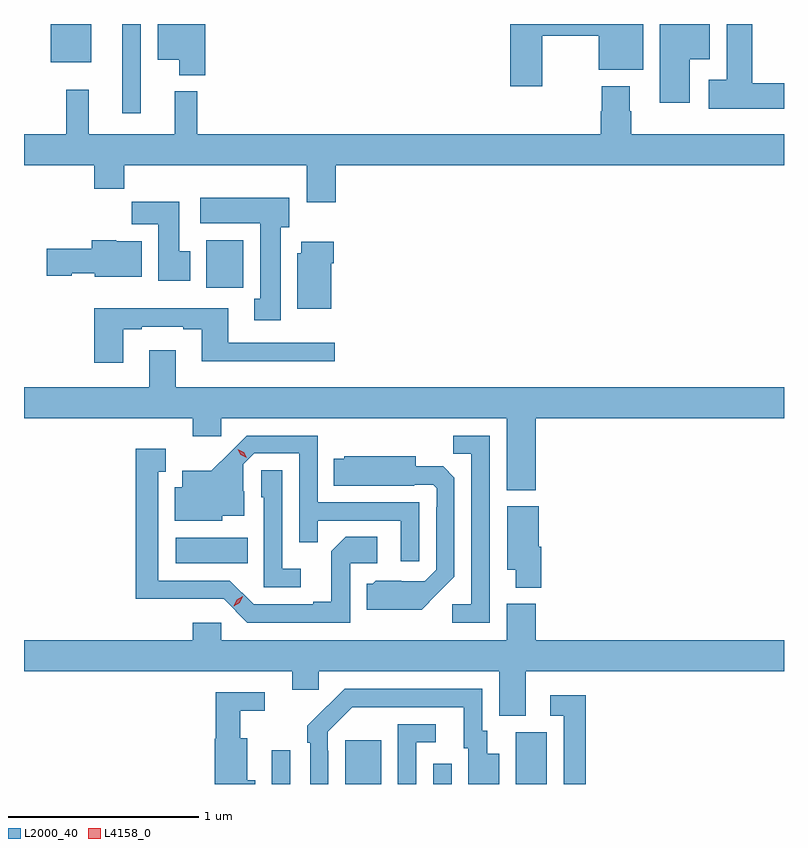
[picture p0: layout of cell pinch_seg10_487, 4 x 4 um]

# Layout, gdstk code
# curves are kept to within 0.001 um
import gdstk
lib = gdstk.Library(unit=1e-6, precision=1e-09)
def R(c, l, rs):  # rectangles x0, y0, x1, y1
    for r in rs: c.add(gdstk.rectangle(r[:2], r[2:], *l))
def P(c, l, *ps):  # polygons
    for p in ps: c.add(gdstk.Polygon(p, *l))
L2000_40 = (2000, 40)
L4158_0 = (4158, 0)

pinch_seg10_487 = lib.new_cell('pinch_seg10_487')
R(pinch_seg10_487, L2000_40, [(215.583,1250.439,215.679,1250.617), (215.969,1250.439,216.157,1250.668), (216.432,1250.439,216.528,1250.545), (216.866,1250.439,217.03,1250.712), (215.076,1251.602,215.456,1251.736), (215.237,1253.052,215.433,1253.302), (214.796,1253.97,214.893,1254.439), (214.418,1254.239,214.633,1254.439)])
P(pinch_seg10_487, L2000_40, [(217.783,1254.254),(217.888,1254.254),(217.888,1254.439),(217.625,1254.439),(217.625,1254.024),(217.783,1254.024)],
  [(215.231,1254.439),(214.982,1254.439),(214.982,1254.251),(215.096,1254.251),(215.096,1254.17),(215.231,1254.17)],
  [(217.006,1254.376),(217.304,1254.376),(217.304,1254.197),(217.537,1254.197),(217.537,1254.439),(216.836,1254.439),(216.836,1254.111),(217.006,1254.111)],
  [(218.278,1254.128),(218.111,1254.128),(218.111,1254.439),(217.976,1254.439),(217.976,1254.145),(217.881,1254.145),(217.881,1253.993),(218.278,1253.993)],
  [(215.918,1253.696),(218.278,1253.696),(218.278,1253.86),(217.473,1253.86),(217.473,1253.981),(217.465,1253.981),(217.465,1254.112),(217.318,1254.112),(217.318,1253.981),(217.313,1253.981),(217.313,1253.86),(215.189,1253.86),(215.189,1254.085),(215.072,1254.085),(215.072,1253.86),(214.619,1253.86),(214.619,1254.094),(214.501,1254.094),(214.501,1253.86),(214.278,1253.86),(214.278,1253.696),(214.649,1253.696),(214.649,1253.572),(214.805,1253.572),(214.805,1253.696),(215.765,1253.696),(215.765,1253.502),(215.918,1253.502)],
  [(215.629,1253.37),(215.674,1253.37),(215.674,1253.524),(215.205,1253.524),(215.205,1253.39),(215.522,1253.39),(215.522,1252.993),(215.489,1252.993),(215.489,1252.881),(215.629,1252.881)],
  [(215.152,1253.244),(215.095,1253.244),(215.095,1253.503),(214.846,1253.503),(214.846,1253.384),(214.985,1253.384),(214.985,1253.088),(215.152,1253.088)],
  [(214.897,1253.296),(214.764,1253.296),(214.764,1253.302),(214.634,1253.302),(214.634,1253.256),(214.398,1253.256),(214.398,1253.114),(214.53,1253.114),(214.53,1253.126),(214.65,1253.126),(214.65,1253.108),(214.897,1253.108)],
  [(215.896,1253.18),(215.909,1253.18),(215.909,1253.293),(215.738,1253.293),(215.738,1253.232),(215.717,1253.232),(215.717,1252.94),(215.896,1252.94)],
  [(214.801,1252.833),(214.897,1252.833),(214.897,1252.845),(215.117,1252.845),(215.117,1252.833),(215.213,1252.833),(215.213,1252.664),(215.914,1252.664),(215.914,1252.761),(215.353,1252.761),(215.353,1252.942),(214.649,1252.942),(214.649,1252.656),(214.801,1252.656)],
  [(216.971,1252.364),(218.278,1252.364),(218.278,1252.528),(215.077,1252.528),(215.077,1252.723),(214.937,1252.723),(214.937,1252.528),(214.278,1252.528),(214.278,1252.364),(215.165,1252.364),(215.165,1252.269),(215.316,1252.269),(215.316,1252.364),(216.818,1252.364),(216.818,1251.986),(216.971,1251.986)],
  [(216.729,1252.272),(216.538,1252.272),(216.538,1252.177),(216.633,1252.177),(216.633,1251.384),(216.531,1251.384),(216.531,1251.288),(216.729,1251.288)],
  [(216.357,1251.921),(215.823,1251.921),(215.823,1252.272),(215.45,1252.272),(215.263,1252.087),(215.111,1252.087),(215.111,1252),(215.072,1252),(215.072,1251.824),(215.322,1251.824),(215.322,1251.851),(215.437,1251.851),(215.437,1251.98),(215.433,1251.98),(215.433,1252.122),(215.49,1252.179),(215.727,1252.179),(215.727,1251.712),(215.825,1251.712),(215.825,1251.825),(216.261,1251.825),(216.261,1251.612),(216.357,1251.612)],
  [(215.994,1251.6),(216.136,1251.6),(216.136,1251.74),(215.971,1251.74),(215.895,1251.664),(215.895,1251.397),(215.801,1251.397),(215.801,1251.384),(215.487,1251.384),(215.361,1251.51),(214.984,1251.51),(214.984,1252.083),(215.023,1252.083),(215.023,1252.204),(214.866,1252.204),(214.866,1251.413),(215.328,1251.414),(215.454,1251.288),(215.994,1251.288)],
  [(216.451,1251.437),(216.543,1251.53),(216.543,1252.052),(216.484,1252.111),(216.34,1252.111),(216.34,1252.165),(215.964,1252.165),(215.964,1252.15),(215.908,1252.15),(215.908,1252.01),(216.332,1252.01),(216.332,1252.014),(216.432,1252.014),(216.45,1251.996),(216.45,1251.896),(216.447,1251.896),(216.447,1251.567),(216.387,1251.507),(216.13,1251.508),(216.114,1251.492),(216.083,1251.492),(216.083,1251.356),(216.371,1251.356)],
  [(215.734,1251.571),(215.637,1251.571),(215.637,1252.091),(215.526,1252.091),(215.526,1251.948),(215.541,1251.948),(215.541,1251.474),(215.734,1251.474)],
  [(217.001,1251.687),(216.988,1251.687),(216.988,1251.901),(216.821,1251.901),(216.821,1251.566),(216.866,1251.566),(216.866,1251.473),(217.001,1251.473)],
  [(216.919,1251.032),(218.278,1251.032),(218.278,1251.196),(216.971,1251.196),(216.971,1251.388),(216.818,1251.388),(216.818,1251.196),(215.316,1251.196),(215.316,1251.289),(215.165,1251.289),(215.165,1251.196),(214.278,1251.196),(214.278,1251.032),(215.69,1251.032),(215.69,1250.934),(215.829,1250.934),(215.829,1251.032),(216.779,1251.032),(216.779,1250.797),(216.919,1250.797)],
  [(215.88,1250.615),(215.877,1250.615),(215.877,1250.715),(216.006,1250.844),(216.593,1250.844),(216.593,1250.628),(216.617,1250.628),(216.617,1250.439),(216.778,1250.439),(216.778,1250.599),(216.715,1250.599),(216.715,1250.718),(216.69,1250.718),(216.69,1250.94),(215.966,1250.94),(215.769,1250.745),(215.769,1250.657),(215.784,1250.657),(215.784,1250.439),(215.88,1250.439)],
  [(215.494,1250.458),(215.452,1250.458),(215.452,1250.68),(215.416,1250.68),(215.416,1250.825),(215.545,1250.825),(215.545,1250.922),(215.287,1250.922),(215.287,1250.676),(215.282,1250.676),(215.282,1250.439),(215.494,1250.439)],
  [(217.235,1250.905),(217.047,1250.905),(217.047,1250.799),(217.119,1250.799),(217.119,1250.439),(217.235,1250.439)],
  [(216.342,1250.658),(216.445,1250.658),(216.445,1250.754),(216.246,1250.754),(216.246,1250.439),(216.342,1250.439)])
P(pinch_seg10_487, L4158_0, [(215.451,1252.156),(215.42,1252.171),(215.403,1252.201),(215.403,1252.202),(215.403,1252.202),(215.434,1252.186),(215.451,1252.156),(215.451,1252.156)],
  [(215.382,1251.375),(215.382,1251.375),(215.399,1251.408),(215.43,1251.427),(215.43,1251.427),(215.43,1251.427),(215.413,1251.394),(215.382,1251.375)])

lib.write_gds('pinch_seg10_487.gds')
